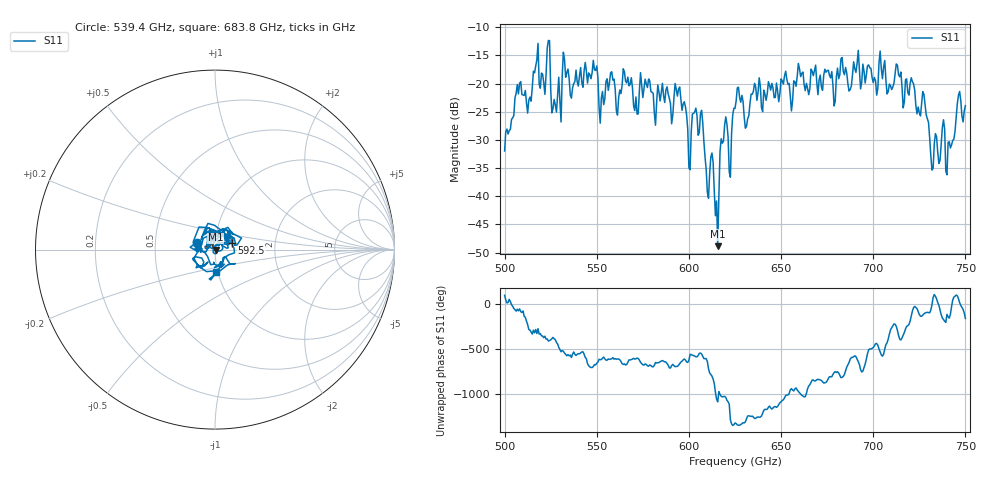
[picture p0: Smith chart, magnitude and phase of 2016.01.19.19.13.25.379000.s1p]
!Created with skrf (http://scikit-rf.org).
# GHz S RI R 50.0
!freq ReS11 ImS11
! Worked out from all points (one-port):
!   401 points, 500 GHz to 750 GHz, reference 50 ohm
!   lowest |S11| = -48.9 dB at 615.6 GHz (marker M1), VSWR 1.01, Z = 50.4 - j0.0699 ohm
!   |S11| at or under -10 dB: start of sweep to end of sweep
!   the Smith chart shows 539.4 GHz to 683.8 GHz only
!   S11 on the Smith chart (normalised r, x): 539.4 GHz: 0.82, +0.06; 592.5 GHz: 1.20, +0.09; 683.8 GHz: 0.98, -0.25
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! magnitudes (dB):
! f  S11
! 500 GHz  -32.0
! 507.5 GHz  -21.8
! 513.1 GHz  -22.9
! 516.9 GHz  -16.9
! 520.6 GHz  -18.3
! 523.8 GHz  -12.3
! 526.9 GHz  -22.8
! 531.2 GHz  -18.7
! 539.4 GHz  -19.7
! 562.5 GHz  -21.1
! 592.5 GHz  -20.0
! 593.8 GHz  -22.2
! 600 GHz  -35.0
! 606.9 GHz  -24.7
! 610 GHz  -39.3
! 615.6 GHz  -48.9
! 618.8 GHz  -30.2
! 622.5 GHz  -36.6
! 625 GHz  -24.4
! 656.2 GHz  -23.0
! 683.8 GHz  -17.9
! 687.5 GHz  -21.1
! 718.8 GHz  -21.6
! 728.1 GHz  -23.8
! 731.9 GHz  -35.4
! 740.6 GHz  -30.4
! 746.2 GHz  -22.0
! 750 GHz  -23.9
